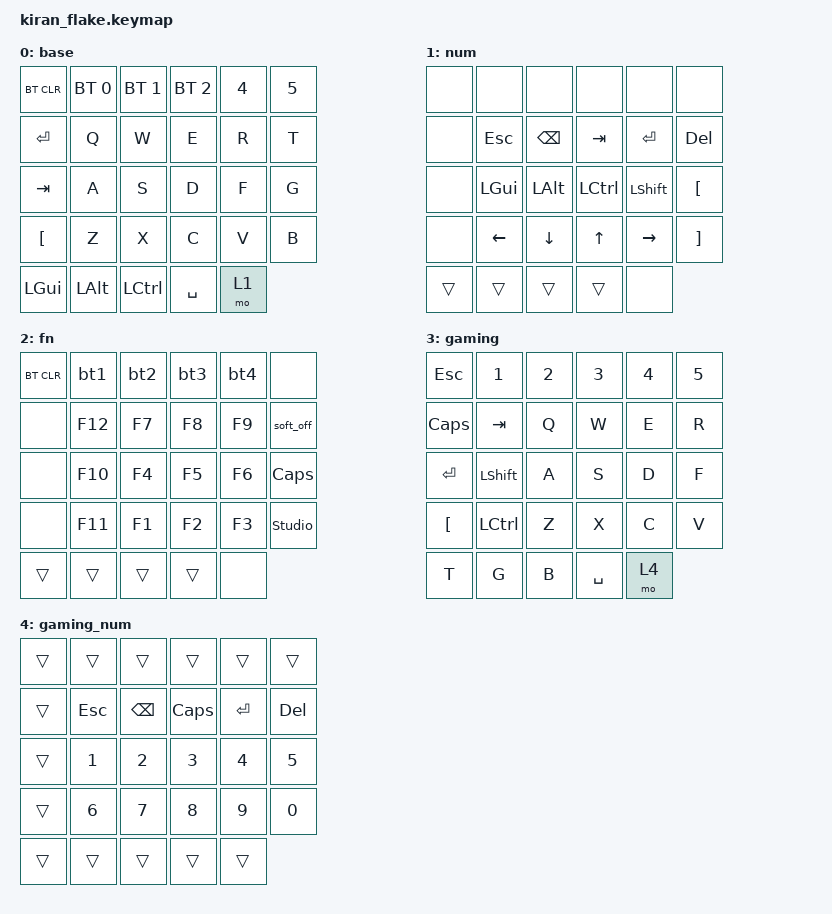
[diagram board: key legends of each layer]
#include <behaviors.dtsi>
#include <dt-bindings/zmk/bt.h>
#include <dt-bindings/zmk/keys.h>

/ {
    combos {
        compatible = "zmk,combos";

        /* Adjust these indices as you prefer; these are valid 0..28 choices */

        bt_sel_3 {
            bindings = <&bt3>;
            key-positions = <27 28>; /* SPACE + MO(1) (thumbs) */
            layers = <2>;            /* active on fn layer */
        };

        bt_sel_4 {
            bindings = <&bt4>;
            key-positions = <25 26>; /* LALT + LCTRL (thumbs) */
            layers = <2>;
        };

        enter_gaming {
            bindings = <&sl 3>;      /* switch to layer 3 (gaming) */
            key-positions = <12 13 14>; /* TAB + A + S */
            layers = <2>;               /* active on fn layer */
        };

        leave_gaming {
            bindings = <&sl 0>;      /* back to base */
            key-positions = <20 21 22>; /* X + C + V */
            layers = <4>;               /* active on gaming_num */
        };

        grave {
            bindings = <&kp GRAVE>;
            key-positions = <13 25>; /* A + LALT */
            layers = <3>;            /* active on gaming */
        };
    };

    macros {
        bt_clr_0: bt_clr_0 {
            compatible = "zmk,behavior-macro";
            #binding-cells = <0>;
            bindings = <&bt BT_SEL 0 &bt BT_CLR>;
            label = "BT_CLR_0";
        };

        bt_clr_1: bt_clr_1 {
            compatible = "zmk,behavior-macro";
            #binding-cells = <0>;
            bindings = <&bt BT_SEL 1 &bt BT_CLR>;
            label = "BT_CLR_1";
        };

        bt_clr_2: bt_clr_2 {
            compatible = "zmk,behavior-macro";
            #binding-cells = <0>;
            bindings = <&bt BT_SEL 2 &bt BT_CLR>;
            label = "BT_CLR_2";
        };

        bt_clr_3: bt_clr_3 {
            compatible = "zmk,behavior-macro";
            #binding-cells = <0>;
            bindings = <&bt BT_SEL 3 &bt BT_CLR>;
            label = "BT_CLR_3";
        };

        bt_clr_4: bt_clr_4 {
            compatible = "zmk,behavior-macro";
            #binding-cells = <0>;
            bindings = <&bt BT_SEL 4 &bt BT_CLR>;
            label = "BT_CLR_4";
        };
    };

    behaviors {
        bt0: bt0 {
            compatible = "zmk,behavior-mod-morph";
            label = "BT0";
            bindings = <&bt BT_SEL 0>, <&bt_clr_0>;
            #binding-cells = <0>;
            mods = <(MOD_LSFT|MOD_RSFT)>;
        };

        bt1: bt1 {
            compatible = "zmk,behavior-mod-morph";
            label = "BT1";
            bindings = <&bt BT_SEL 1>, <&bt_clr_1>;
            #binding-cells = <0>;
            mods = <(MOD_LSFT|MOD_RSFT)>;
        };

        bt2: bt2 {
            compatible = "zmk,behavior-mod-morph";
            label = "BT2";
            bindings = <&bt BT_SEL 2>, <&bt_clr_2>;
            #binding-cells = <0>;
            mods = <(MOD_LSFT|MOD_RSFT)>;
        };

        bt3: bt3 {
            compatible = "zmk,behavior-mod-morph";
            label = "BT3";
            bindings = <&bt BT_SEL 3>, <&bt_clr_3>;
            #binding-cells = <0>;
            mods = <(MOD_LSFT|MOD_RSFT)>;
        };

        bt4: bt4 {
            compatible = "zmk,behavior-mod-morph";
            label = "BT4";
            bindings = <&bt BT_SEL 4>, <&bt_clr_4>;
            #binding-cells = <0>;
            mods = <(MOD_LSFT|MOD_RSFT)>;
        };
    };

    keymap {
        compatible = "zmk,keymap";

        /* Index layout: 
           0..5   = Row 0  (6 keys)
           6..11  = Row 1  (6 keys)
           12..17 = Row 2  (6 keys)
           18..23 = Row 3  (6 keys)
           24..28 = Thumbs (5 keys)
        */

        base {
            bindings = <
/*  0..5  */  &bt BT_CLR  &bt BT_SEL 0  &bt BT_SEL 1  &bt BT_SEL 2      &kp N4      &kp N5
/* 6..11  */  &kp ENTER   &kp Q       &kp W       &kp E       &kp R       &kp T
/*12..17  */  &kp TAB     &kp A       &kp S       &kp D       &kp F       &kp G
/*18..23  */  &kp LBKT    &kp Z       &kp X       &kp C       &kp V       &kp B
/*24..28  */  &kp LGUI    &kp LALT    &kp LCTRL   &kp SPACE   &mo 1
            >;
        };

        num {
            bindings = <
/*  0..5  */  &none       &none       &none       &none       &none       &none
/* 6..11  */  &none       &kp ESC     &kp BACKSPACE &kp TAB   &kp ENTER   &kp DEL
/*12..17  */  &none       &kp LGUI    &kp LALT     &kp LCTRL   &kp LSHFT   &kp LBKT
/*18..23  */  &none       &kp LEFT    &kp DOWN     &kp UP      &kp RIGHT   &kp RBKT
/*24..28  */  &trans      &trans      &trans       &trans      &none
            >;
        };

        fn {
            bindings = <
/*  0..5  */  &bt BT_CLR  &bt1        &bt2        &bt3        &bt4        &none
/* 6..11  */  &none       &kp F12     &kp F7      &kp F8      &kp F9      &soft_off
/*12..17  */  &none       &kp F10     &kp F4      &kp F5      &kp F6      &kp CAPS
/*18..23  */  &none       &kp F11     &kp F1      &kp F2      &kp F3      &studio_unlock
/*24..28  */  &trans      &trans      &trans      &trans      &none
            >;
        };

        gaming {
            bindings = <
/*  0..5  */  &kp ESC     &kp N1      &kp N2      &kp N3      &kp N4      &kp N5
/* 6..11  */  &kp CAPS    &kp TAB     &kp Q       &kp W       &kp E       &kp R
/*12..17  */  &kp ENTER   &kp LSHFT   &kp A       &kp S       &kp D       &kp F
/*18..23  */  &kp LBKT    &kp LCTRL   &kp Z       &kp X       &kp C       &kp V
/*24..28  */  &kp T       &kp G       &kp B       &kp SPACE   &mo 4
            >;
        };

        gaming_num {
            bindings = <
/*  0..5  */  &trans      &trans      &trans      &trans      &trans      &trans
/* 6..11  */  &trans      &kp ESC     &kp BSPC    &kp CAPS    &kp ENTER   &kp DEL
/*12..17  */  &trans      &kp N1      &kp N2      &kp N3      &kp N4      &kp N5
/*18..23  */  &trans      &kp N6      &kp N7      &kp N8      &kp N9      &kp N0
/*24..28  */  &trans      &trans      &trans      &trans      &trans
            >;
        };
    };
};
